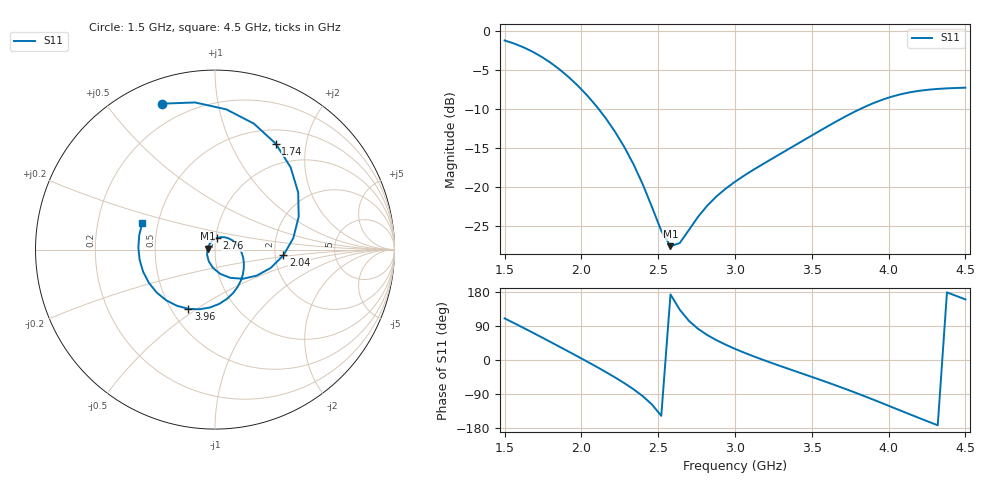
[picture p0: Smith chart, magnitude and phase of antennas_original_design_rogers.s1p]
! Touchstone file exported from HFSS 2025.2.0
!  File:  C:/Users/kamaj/Documents/Ansoft/antennas.aedt
!  Generated:  02:57:29 AM Dec 28, 2025
!  Design:  original_design_rogers
!  Project:  antennas
!  Setup:  Setup
!  Solution:  Sweep
! Variables:
!  QW = 150mm
!  air_x = 200mm
!  air_y = 200mm
!  air_z = 200mm
!  antenna_substrate_length = 30mm
!  circ_patch_length = 2.85mm
!  feed_short = 0.1mm
!  feed_substrate_length = 30mm
!  feed_taper_length = 2.85mm
!  feed_width = 1.1mm
!  patch_feed_width = 0.5mm
!  patch_ground_spacing = 0.5mm
!  patch_length = 20mm
!  patch_width = 14mm
!  substrate_height = 0.508mm
!  substrate_width = 50mm
# GHz S MA R 50.000000
! Terminal data exported
! Port[1] = rect_patch_T1
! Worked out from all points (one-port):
!   51 points, 1.5 GHz to 4.5 GHz, reference 50 ohm
!   lowest |S11| = -27.6 dB at 2.58 GHz (marker M1), VSWR 1.09, Z = 46 + j0.464 ohm
!   |S11| at or under -10 dB: 2.111 GHz to 3.818 GHz (1.707 GHz wide, 57.6 % of centre)
!   S11 on the Smith chart (normalised r, x): 1.5 GHz: 0.11, +0.70; 1.74 GHz: 0.68, +1.50; 2.04 GHz: 2.22, -0.17; 2.76 GHz: 1.01, +0.13; 3.96 GHz: 0.61, -0.46; 4.5 GHz: 0.41, +0.15
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1.5  0.8644 109.8
! Gamma 0 0
! Port Impedance 50 0
1.56  0.8273 97.7
1.62  0.7839 85.4
1.68  0.7345 72.8
1.74  0.6803 60.2
1.8  0.6223 47.4
1.86  0.5622 34.5
1.92  0.5014 21.5
2.04  0.3827 -4.8
2.1  0.3267 -18.2
2.16  0.274 -32.0
2.28  0.1798 -61.2
2.4  0.1038 -95.6
2.52  0.05255 -147.3
2.58  0.04192 173.1
2.64  0.04387 133.0
2.76  0.06469 82.1
2.88  0.08727 52.2
3  0.1082 29.4
3.24  0.1516 -8.0
3.42  0.1922 -33.4
3.6  0.2434 -58.8
3.78  0.3034 -85.6
3.96  0.3618 -114.2
4.02  0.3781 -124.0
4.14  0.4034 -143.6
4.32  0.4238 -172.3
4.5  0.4314 159.9
